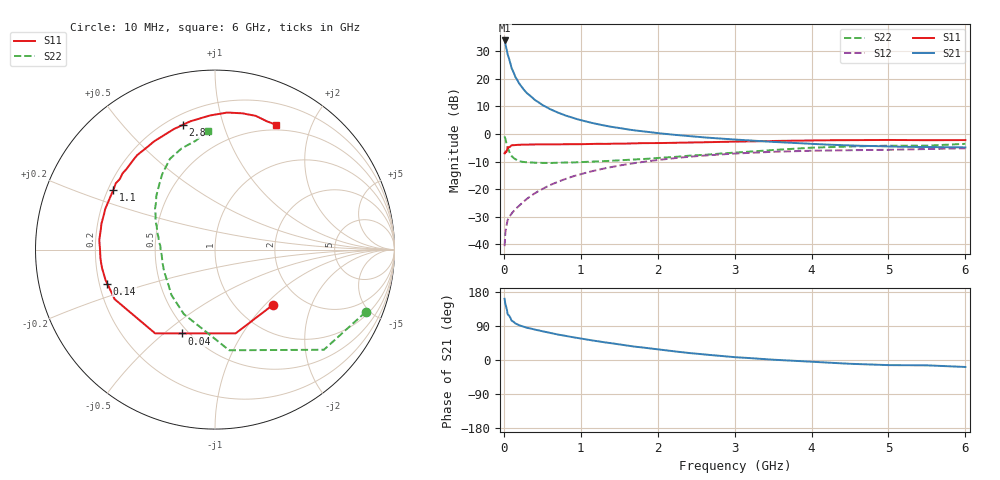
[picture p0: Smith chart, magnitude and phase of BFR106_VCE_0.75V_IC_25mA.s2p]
! Infineon Technologies  Discrete & RF Semiconductors
! BFR106
! VCE = 0.75 V,  IC =  25 mA
! Common Emitter S-Parameters:  Nov 2015
# GHz  S  MA  R  50
!  f  S11  S21  S12  S22
! GHz  MAG  ANG  MAG  ANG  MAG  ANG  MAG  ANG
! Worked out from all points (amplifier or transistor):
!   210 points, 10 MHz to 6 GHz, reference 50 ohm
!   highest |S21| = 33.9 dB at 10 MHz (marker M1)
!   |S21| within 3 dB of that: start of sweep to 34.46 MHz
!   unconditionally stable (mu >= 1): 286.5 MHz to end of sweep
!   at 185 MHz: K = 0.86, MSG = 22.7 dB, |S12| = -26.3 dB
!   at 1.52 GHz: K = 1.08, MAG = 5.0 dB, |S12| = -11.4 dB
!   at 6 GHz: K = 1.03, MAG = -0.8 dB, |S12| = -5.2 dB
!   S11 on the Smith chart (normalised r, x): 10 MHz: 1.46, -1.11; 40 MHz: 0.46, -0.58; 140 MHz: 0.23, -0.15; 1.1 GHz: 0.22, +0.26; 2.84 GHz: 0.26, +0.74; 6 GHz: 0.44, +1.52
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0.01  0.4465 -43.3  49.31 161.5  0.0093 76.8  0.9086 -22.5
0.02  0.4809 -76.2  43.47 147.0  0.0165 64.9  0.8244 -42.6
0.04  0.5019 -111.5  31.99 132.4  0.0239 52.5  0.6151 -65.5
0.05  0.5736 -125.5  27.5 120.9  0.0278 48.9  0.5663 -82.0
0.1  0.6236 -153.7  15.68 104.2  0.0362 47.5  0.399 -115.8
0.14  0.6294 -162.5  11.7 98.5  0.0416 49.8  0.357 -129.9
0.15  0.6332 -164.7  10.74 96.4  0.043 50.3  0.3504 -133.9
0.2  0.6379 -170.9  8.188 91.6  0.0505 54.5  0.3219 -144.4
0.24  0.6395 -174.6  6.876 88.8  0.0569 57.0  0.3132 -151.0
0.3  0.6397 -178.8  5.487 85.1  0.0668 59.5  0.3076 -157.6
0.4  0.6471 175.2  4.167 80.2  0.0838 62.1  0.302 -165.5
0.5  0.6453 171.1  3.358 75.8  0.1007 63.2  0.2993 -170.9
0.6  0.649 167.0  2.822 71.5  0.1184 63.2  0.2981 -174.4
0.8  0.6522 159.7  2.163 63.7  0.153 61.8  0.3039 179.2
1.02  0.6538 152.0  1.749 56.0  0.1906 59.4  0.3098 174.2
1.1  0.6565 149.7  1.638 53.1  0.204 58.3  0.3143 172.4
2.02  0.6841 123.8  1.03 27.5  0.34 42.8  0.3697 153.7
2.84  0.7181 104.4  0.822 10.4  0.4277 28.7  0.445 137.1
3.1  0.73 99.3  0.777 6.3  0.4479 24.5  0.4686 132.1
4.1  0.7674 83.7  0.651 -5.7  0.4989 9.8  0.5695 114.7
5.1  0.777 72.0  0.589 -13.6  0.5198 -1.5  0.6137 100.9
6  0.7746 63.8  0.571 -18.4  0.5502 -9.9  0.6627 93.4
